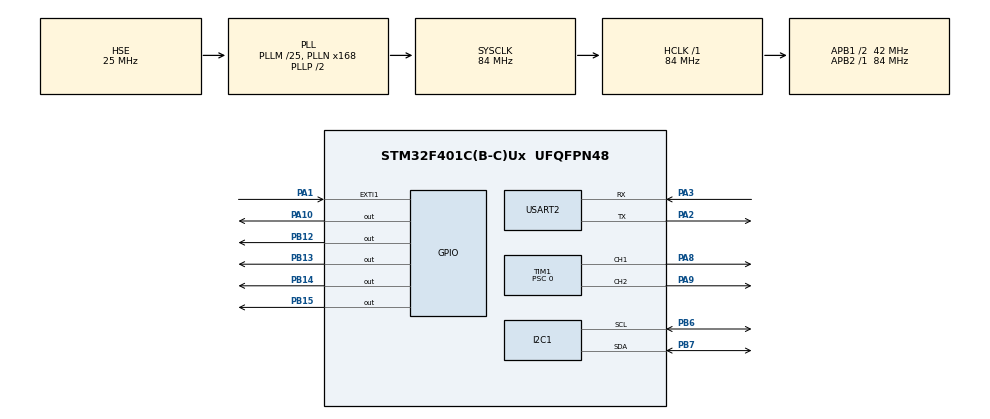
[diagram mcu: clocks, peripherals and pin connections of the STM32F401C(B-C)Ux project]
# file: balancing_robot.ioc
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Mcu.Family=STM32F4
Mcu.Name=STM32F401C(B-C)Ux
Mcu.Package=UFQFPN48
NVIC.EXTI1_IRQn=true\:0\:0\:false\:false\:true\:true\:true\:true
NVIC.PriorityGroup=NVIC_PRIORITYGROUP_4
PA1.Signal=GPXTI1
PA10.Signal=GPIO_Output
PA13.Mode=Serial_Wire
PA13.Signal=SYS_JTMS-SWDIO
PA14.Mode=Serial_Wire
PA14.Signal=SYS_JTCK-SWCLK
PA2.Mode=Asynchronous
PA2.Signal=USART2_TX
PA3.Mode=Asynchronous
PA3.Signal=USART2_RX
PA8.Signal=S_TIM1_CH1
PA9.Signal=S_TIM1_CH2
PB12.Signal=GPIO_Output
PB13.Signal=GPIO_Output
PB14.Signal=GPIO_Output
PB15.Signal=GPIO_Output
PB6.Mode=I2C
PB6.Signal=I2C1_SCL
PB7.Mode=I2C
PB7.Signal=I2C1_SDA
PH0\ -\ OSC_IN.Mode=HSE-External-Oscillator
PH0\ -\ OSC_IN.Signal=RCC_OSC_IN
PH1\ -\ OSC_OUT.Mode=HSE-External-Oscillator
PH1\ -\ OSC_OUT.Signal=RCC_OSC_OUT
ProjectManager.HeapSize=0x200
ProjectManager.StackSize=0x400
ProjectManager.TargetToolchain=STM32CubeIDE
RCC.48MHZClocksFreq_Value=42000000
RCC.AHBFreq_Value=84000000
RCC.APB1CLKDivider=RCC_HCLK_DIV2
RCC.APB1Freq_Value=42000000
RCC.APB1TimFreq_Value=84000000
RCC.APB2Freq_Value=84000000
RCC.APB2TimFreq_Value=84000000
RCC.CortexFreq_Value=84000000
RCC.HCLKFreq_Value=84000000
RCC.HSE_VALUE=25000000
RCC.HSI_VALUE=16000000
RCC.LSE_VALUE=32768
RCC.PLLM=25
RCC.PLLN=168
RCC.PLLSourceVirtual=RCC_PLLSOURCE_HSE
RCC.SYSCLKFreq_VALUE=84000000
RCC.SYSCLKSource=RCC_SYSCLKSOURCE_PLLCLK
RCC.VCOOutputFreq_Value=168000000
SH.S_TIM1_CH1.0=TIM1_CH1,PWM Generation1 CH1
SH.S_TIM1_CH2.0=TIM1_CH2,PWM Generation2 CH2
TIM1.AutoReloadPreload=TIM_AUTORELOAD_PRELOAD_ENABLE
TIM1.Channel-PWM\ Generation1\ CH1=TIM_CHANNEL_1
TIM1.Channel-PWM\ Generation2\ CH2=TIM_CHANNEL_2
TIM1.Period=4199
TIM1.Prescaler=0
USART2.VirtualMode=VM_ASYNC
VP_TIM1_VS_ClockSourceINT.Mode=Internal
board=custom

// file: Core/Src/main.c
/* USER CODE BEGIN Header */
/**
  ******************************************************************************
  * @file           : main.c
  * @brief          : Main program body
  ******************************************************************************
  * @attention
  *
  * Copyright (c) 2026 STMicroelectronics.
  * All rights reserved.
  *
  * This software is licensed under terms that can be found in the LICENSE file
  * in the root directory of this software component.
  * If no LICENSE file comes with this software, it is provided AS-IS.
  *
  ******************************************************************************
  */
/* USER CODE END Header */
#include "main.h"
#include "i2c.h"
#include "tim.h"
#include "usart.h"
#include "gpio.h"

/* USER CODE BEGIN Includes */
#include "motor.h"
#include "lsm6ds3.h"
#include <math.h>
#include "pid.h"
/* USER CODE END Includes */

/* USER CODE BEGIN PV */
LSM6DS3_Data_t imu_data;
Vector3D accel;
Vector3D gyro;
volatile float robot_pitch = 0.0f;
volatile float target_pitch = -1.415f;
volatile int16_t motor_output = 0;

/* USER CODE END PV */

void SystemClock_Config(void);

int main(void)
{

  /* MCU Configuration--------------------------------------------------------*/

  /* Reset of all peripherals, Initializes the Flash interface and the Systick. */
  HAL_Init();

  /* Configure the system clock */
  SystemClock_Config();

  /* Initialize all configured peripherals */
  MX_GPIO_Init();
  MX_I2C1_Init();
  MX_TIM1_Init();
  MX_USART2_UART_Init();

  /* USER CODE BEGIN 2 */
  HAL_Delay(200);
  Motors_Init();
  Imu_Init(&hi2c1);
  Imu_CalibrateGyro(&hi2c1, 500);

  /* USER CODE END 2 */

  /* Infinite loop */
  /* USER CODE BEGIN WHILE */
  uint32_t loop_timer = HAL_GetTick();
  static float gyro_f = 0.0f;
  static float v_est = 0.0f;
  const float Kv = 0.002f;

  while (1)
  {
    /* USER CODE END WHILE */

    /* USER CODE BEGIN 3 */

	  if ((HAL_GetTick() - loop_timer) >= 5)
	  {
	      loop_timer += 5; // без накопичення похибки

	      const float dt = 0.005f;

	      Imu_Read(&hi2c1, &imu_data);
	      Imu_Process(&imu_data, &accel, &gyro);
	      robot_pitch = Imu_GetPitch(&accel, &gyro, dt);

	      float tilt_error = fabsf(robot_pitch - target_pitch);

	      if (tilt_error < 11.0f)
	      {
	    	  gyro_f += 0.3f * (gyro.y - gyro_f);
	    	  v_est += 0.02f * ((float)motor_output - v_est);

	    	  float adj = Kv * v_est;
	    	  if (adj > 3.0f)  adj = 3.0f;
	    	  if (adj < -3.0f) adj = -3.0f;

	    	  motor_output = PID_Compute(robot_pitch, target_pitch + adj, gyro_f, dt);

	          const float deadband_A = 200.0f;
	          const float deadband_B = 185.0f;
	          const float ramp = 1200.0f;

	          float out = (float)motor_output;
	          float scale = fabsf(out) / ramp;
	          if (scale > 1.0f) scale = 1.0f;
	          float sgn = (out > 0.0f) ? 1.0f : ((out < 0.0f) ? -1.0f : 0.0f);

	          int32_t motor_A = (int32_t)(out + sgn * deadband_A * scale);
	          int32_t motor_B = (int32_t)(out + sgn * deadband_B * scale);

	          if (motor_A > 4199) motor_A = 4199;
	          if (motor_A < -4199) motor_A = -4199;
	          if (motor_B > 4199) motor_B = 4199;
	          if (motor_B < -4199) motor_B = -4199;

	          Motors_Set_Speed((int16_t)motor_A, (int16_t)motor_B);
	      }
	      else
	      {
	    	  v_est = 0.0f;
	    	  gyro_f = 0.0f;
	          motor_output = 0;
	          Motors_Set_Speed(0, 0);
	          PID_Reset();
	      }

	      HAL_GPIO_TogglePin(GPIOC, GPIO_PIN_13);
	  }
  }
  /* USER CODE END 3 */
}

void SystemClock_Config(void)
{
  RCC_OscInitTypeDef RCC_OscInitStruct = {0};
  RCC_ClkInitTypeDef RCC_ClkInitStruct = {0};

  /** Configure the main internal regulator output voltage
  */
  __HAL_RCC_PWR_CLK_ENABLE();
  __HAL_PWR_VOLTAGESCALING_CONFIG(PWR_REGULATOR_VOLTAGE_SCALE2);

  /** Initializes the RCC Oscillators according to the specified parameters
  * in the RCC_OscInitTypeDef structure.
  */
  RCC_OscInitStruct.OscillatorType = RCC_OSCILLATORTYPE_HSE;
  RCC_OscInitStruct.HSEState = RCC_HSE_ON;
  RCC_OscInitStruct.PLL.PLLState = RCC_PLL_ON;
  RCC_OscInitStruct.PLL.PLLSource = RCC_PLLSOURCE_HSE;
  RCC_OscInitStruct.PLL.PLLM = 25;
  RCC_OscInitStruct.PLL.PLLN = 168;
  RCC_OscInitStruct.PLL.PLLP = RCC_PLLP_DIV2;
  RCC_OscInitStruct.PLL.PLLQ = 4;
  if (HAL_RCC_OscConfig(&RCC_OscInitStruct) != HAL_OK)
  {
    Error_Handler();
  }

  /** Initializes the CPU, AHB and APB buses clocks
  */
  RCC_ClkInitStruct.ClockType = RCC_CLOCKTYPE_HCLK|RCC_CLOCKTYPE_SYSCLK
                              |RCC_CLOCKTYPE_PCLK1|RCC_CLOCKTYPE_PCLK2;
  RCC_ClkInitStruct.SYSCLKSource = RCC_SYSCLKSOURCE_PLLCLK;
  RCC_ClkInitStruct.AHBCLKDivider = RCC_SYSCLK_DIV1;
  RCC_ClkInitStruct.APB1CLKDivider = RCC_HCLK_DIV2;
  RCC_ClkInitStruct.APB2CLKDivider = RCC_HCLK_DIV1;

  if (HAL_RCC_ClockConfig(&RCC_ClkInitStruct, FLASH_LATENCY_2) != HAL_OK)
  {
    Error_Handler();
  }
}

void Error_Handler(void)
{
  __disable_irq();
  while (1)
  {
  }
}
